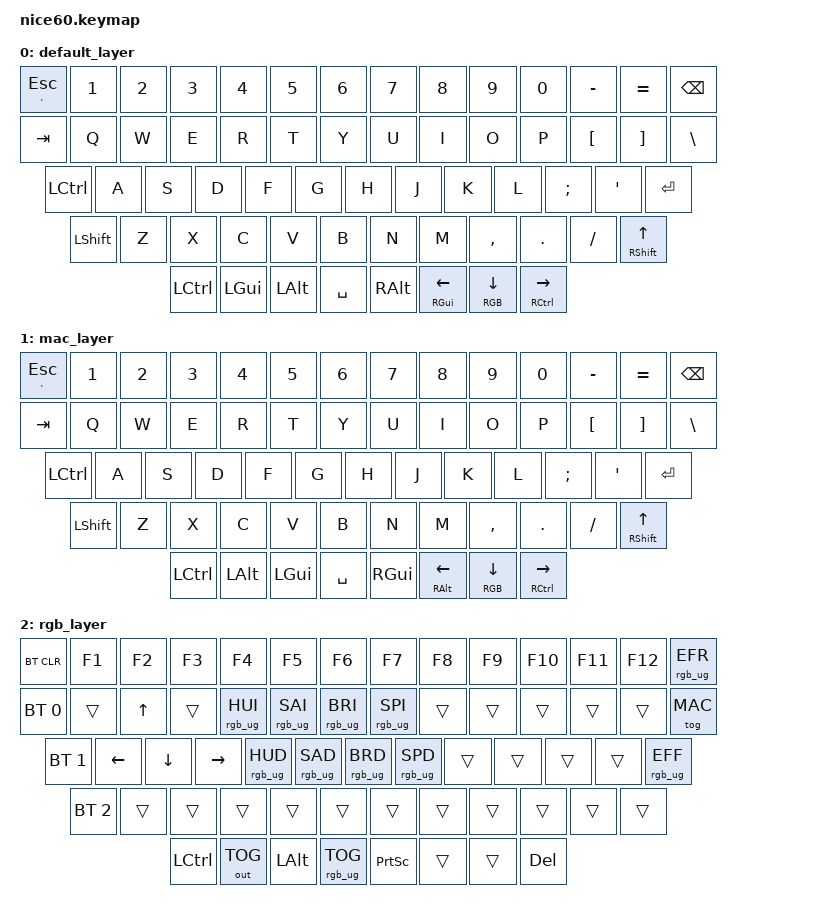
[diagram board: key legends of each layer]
/*
 * Copyright (c) 2021 Nick Winans
 *
 * SPDX-License-Identifier: MIT
 */

#include <behaviors.dtsi>
#include <dt-bindings/zmk/keys.h>
#include <dt-bindings/zmk/rgb.h>
#include <dt-bindings/zmk/bt.h>
#include <dt-bindings/zmk/outputs.h>
#include <dt-bindings/zmk/reset.h>
#include <dt-bindings/zmk/ext_power.h>

#define DEFAULT 0
#define MAC 1
#define RGB 2

/ {
	keymap {
		compatible = "zmk,keymap";
		
		default_layer {
// ------------------------------------------------------------------------------------------
// | ESC |  1  |  2  |  3  |  4  |  5  |  6  |  7  |  8  |  9  |  0  |  -  |  =  |   BKSP   |
// | TAB  |  Q  |  W  |  E  |  R  |  T  |  Y  |  U  |  I  |  O  |  P  |  [  |  ]  |   "|"   |
// | CTRL  |  A  |  S  |  D  |  F  |  G  |  H  |  J  |  K  |  L  |  ;  |  '  |     ENTER    |
// |  SHIFT  |  Z  |  X  |  C  |  V  |  B  |  N  |  M  |  ,  |  .  |  /  |      SHIFT       |
// |  CTRL |  WIN  |  ALT  |            SPACE              |  ALT  |  WIN  | MO(RGB)|  CTRL |
// ------------------------------------------------------------------------------------------
			bindings = <
	&mt GRAVE ESC &kp N1 &kp N2 &kp N3 &kp N4 &kp N5 &kp N6 &kp N7 &kp N8 &kp N9 &kp N0 &kp MINUS &kp EQUAL  &kp BSPC
	&kp TAB  &kp Q  &kp W  &kp E  &kp R  &kp T  &kp Y  &kp U  &kp I  &kp O  &kp P  &kp LBKT  &kp RBKT  &kp BSLH
	&kp LCTL  &kp A  &kp S  &kp D  &kp F  &kp G  &kp H  &kp J  &kp K  &kp L  &kp SEMI &kp SQT           &kp RET
	&kp LSHFT   &kp Z  &kp X  &kp C  &kp V  &kp B  &kp N  &kp M  &kp COMMA &kp DOT &kp FSLH        &mt RSHFT UP
	&kp LCTRL &kp LGUI &kp LALT             &kp SPACE      &kp RALT  &mt RGUI LEFT &lt RGB DOWN &mt RCTRL RIGHT
			>;
		};

		mac_layer {
// ------------------------------------------------------------------------------------------
// | ESC |  1  |  2  |  3  |  4  |  5  |  6  |  7  |  8  |  9  |  0  |  -  |  =  |   BKSP   |
// | TAB  |  Q  |  W  |  E  |  R  |  T  |  Y  |  U  |  I  |  O  |  P  |  [  |  ]  |   "|"   |
// | CTRL  |  A  |  S  |  D  |  F  |  G  |  H  |  J  |  K  |  L  |  ;  |  '  |     ENTER    |
// |  SHIFT  |  Z  |  X  |  C  |  V  |  B  |  N  |  M  |  ,  |  .  |  /  |      SHIFT       |
// |  CTRL |  WIN  |  ALT  |            SPACE              |  ALT  |  WIN  | MO(RGB)|  CTRL |
// ------------------------------------------------------------------------------------------
			bindings = <
	&mt GRAVE ESC &kp N1 &kp N2 &kp N3 &kp N4 &kp N5 &kp N6 &kp N7 &kp N8 &kp N9 &kp N0 &kp MINUS &kp EQUAL  &kp BSPC
	&kp TAB  &kp Q  &kp W  &kp E  &kp R  &kp T  &kp Y  &kp U  &kp I  &kp O  &kp P  &kp LBKT  &kp RBKT  &kp BSLH
	&kp LCTL  &kp A  &kp S  &kp D  &kp F  &kp G  &kp H  &kp J  &kp K  &kp L  &kp SEMI &kp SQT           &kp RET
	&kp LSHFT   &kp Z  &kp X  &kp C  &kp V  &kp B  &kp N  &kp M  &kp COMMA &kp DOT &kp FSLH        &mt RSHFT UP
	&kp LCTRL &kp LALT &kp LGUI             &kp SPACE      &kp RGUI  &mt RALT LEFT &lt RGB DOWN &mt RCTRL RIGHT
			>;
		};

		rgb_layer {
// ------------------------------------------------------------------------------------------------
// | BT CLR | F1  | F2  | F3  | F4  | F5  | F6  | F7  | F8  | F9  | F10  | F11 | F12 | EFFECT REV |
// | BT 1    |   |  UP |   | HUEUP | SATUP | BRIUP | SPDUP |   |     |    |     |     |           |
// | BT 2     | LT |  DN  | RT | HUEDN | SATDN | BRIDN | SPDDN |   |     |   |     |  EFFECT FORW |
// | BT 3        |     |      |      |     |     |     |     |     |     |     |                  |
// |   CTRL  |  TOG | ALT  |             TOG RGB                | PRT SCR |       |       |  DEL  |
// ------------------------------------------------------------------------------------------------
			bindings = <
	&bt BT_CLR   &kp F1    &kp F2    &kp F3  &kp F4           &kp F5          &kp F6          &kp F7          &kp F8   &kp F9   &kp F10  &kp F11 &kp F12  &rgb_ug RGB_EFR
	&bt BT_SEL 0  &trans    &kp UP    &trans  &rgb_ug RGB_HUI  &rgb_ug RGB_SAI &rgb_ug RGB_BRI &rgb_ug RGB_SPI  &trans   &trans   &trans   &trans  &trans          &tog MAC
	&bt BT_SEL 1   &kp LEFT  &kp DOWN  &kp RIGHT &rgb_ug RGB_HUD &rgb_ug RGB_SAD &rgb_ug RGB_BRD &rgb_ug RGB_SPD &trans   &trans   &trans   &trans        &rgb_ug RGB_EFF
	&bt BT_SEL 2    &trans    &trans    &trans   &trans          &trans          &trans          &trans          &trans   &trans   &trans                          &trans
	&kp LCTL      &out OUT_TOG &kp LALT                      &rgb_ug RGB_TOG                                      &kp PSCRN      &trans      &trans               &kp DEL
			>;
		};
	};
};
